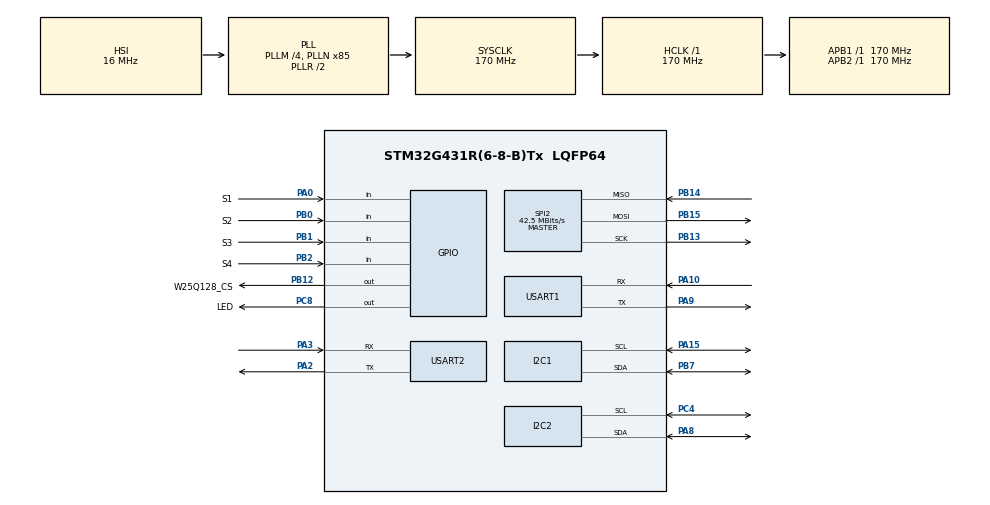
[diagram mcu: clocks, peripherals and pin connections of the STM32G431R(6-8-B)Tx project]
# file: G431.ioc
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Dma.Request0=USART2_RX
Dma.Request1=USART2_TX
Dma.Request2=USART1_RX
Dma.Request3=USART1_TX
Dma.USART1_RX.2.Direction=DMA_PERIPH_TO_MEMORY
Dma.USART1_RX.2.EventEnable=DISABLE
Dma.USART1_RX.2.Instance=DMA1_Channel3
Dma.USART1_RX.2.MemDataAlignment=DMA_MDATAALIGN_BYTE
Dma.USART1_RX.2.MemInc=DMA_MINC_ENABLE
Dma.USART1_RX.2.Mode=DMA_CIRCULAR
Dma.USART1_RX.2.PeriphDataAlignment=DMA_PDATAALIGN_BYTE
Dma.USART1_RX.2.PeriphInc=DMA_PINC_DISABLE
Dma.USART1_RX.2.Polarity=HAL_DMAMUX_REQ_GEN_RISING
Dma.USART1_RX.2.Priority=DMA_PRIORITY_LOW
Dma.USART1_RX.2.RequestNumber=1
Dma.USART1_RX.2.SignalID=NONE
Dma.USART1_RX.2.SyncEnable=DISABLE
Dma.USART1_RX.2.SyncPolarity=HAL_DMAMUX_SYNC_NO_EVENT
Dma.USART1_RX.2.SyncRequestNumber=1
Dma.USART1_RX.2.SyncSignalID=NONE
Dma.USART1_TX.3.Direction=DMA_MEMORY_TO_PERIPH
Dma.USART1_TX.3.EventEnable=DISABLE
Dma.USART1_TX.3.Instance=DMA1_Channel4
Dma.USART1_TX.3.MemDataAlignment=DMA_MDATAALIGN_BYTE
Dma.USART1_TX.3.MemInc=DMA_MINC_ENABLE
Dma.USART1_TX.3.Mode=DMA_NORMAL
Dma.USART1_TX.3.PeriphDataAlignment=DMA_PDATAALIGN_BYTE
Dma.USART1_TX.3.PeriphInc=DMA_PINC_DISABLE
Dma.USART1_TX.3.Polarity=HAL_DMAMUX_REQ_GEN_RISING
Dma.USART1_TX.3.Priority=DMA_PRIORITY_LOW
Dma.USART1_TX.3.RequestNumber=1
Dma.USART1_TX.3.SignalID=NONE
Dma.USART1_TX.3.SyncEnable=DISABLE
Dma.USART1_TX.3.SyncPolarity=HAL_DMAMUX_SYNC_NO_EVENT
Dma.USART1_TX.3.SyncRequestNumber=1
Dma.USART1_TX.3.SyncSignalID=NONE
Dma.USART2_RX.0.Direction=DMA_PERIPH_TO_MEMORY
Dma.USART2_RX.0.EventEnable=DISABLE
Dma.USART2_RX.0.Instance=DMA1_Channel1
Dma.USART2_RX.0.MemDataAlignment=DMA_MDATAALIGN_BYTE
Dma.USART2_RX.0.MemInc=DMA_MINC_ENABLE
Dma.USART2_RX.0.Mode=DMA_NORMAL
Dma.USART2_RX.0.PeriphDataAlignment=DMA_PDATAALIGN_BYTE
Dma.USART2_RX.0.PeriphInc=DMA_PINC_DISABLE
Dma.USART2_RX.0.Polarity=HAL_DMAMUX_REQ_GEN_RISING
Dma.USART2_RX.0.Priority=DMA_PRIORITY_LOW
Dma.USART2_RX.0.RequestNumber=1
Dma.USART2_RX.0.SignalID=NONE
Dma.USART2_RX.0.SyncEnable=DISABLE
Dma.USART2_RX.0.SyncPolarity=HAL_DMAMUX_SYNC_NO_EVENT
Dma.USART2_RX.0.SyncRequestNumber=1
Dma.USART2_RX.0.SyncSignalID=NONE
Dma.USART2_TX.1.Direction=DMA_MEMORY_TO_PERIPH
Dma.USART2_TX.1.EventEnable=DISABLE
Dma.USART2_TX.1.Instance=DMA1_Channel2
Dma.USART2_TX.1.MemDataAlignment=DMA_MDATAALIGN_BYTE
Dma.USART2_TX.1.MemInc=DMA_MINC_ENABLE
Dma.USART2_TX.1.Mode=DMA_NORMAL
Dma.USART2_TX.1.PeriphDataAlignment=DMA_PDATAALIGN_BYTE
Dma.USART2_TX.1.PeriphInc=DMA_PINC_DISABLE
Dma.USART2_TX.1.Polarity=HAL_DMAMUX_REQ_GEN_RISING
Dma.USART2_TX.1.Priority=DMA_PRIORITY_LOW
Dma.USART2_TX.1.RequestNumber=1
Dma.USART2_TX.1.SignalID=NONE
Dma.USART2_TX.1.SyncEnable=DISABLE
Dma.USART2_TX.1.SyncPolarity=HAL_DMAMUX_SYNC_NO_EVENT
Dma.USART2_TX.1.SyncRequestNumber=1
Dma.USART2_TX.1.SyncSignalID=NONE
I2C1.Timing=0x40B285C2
I2C2.Timing=0x40B285C2
Mcu.Family=STM32G4
Mcu.Name=STM32G431R(6-8-B)Tx
Mcu.Package=LQFP64
NVIC.DMA1_Channel1_IRQn=true\:0\:0\:false\:false\:true\:false\:true\:true
NVIC.DMA1_Channel2_IRQn=true\:0\:0\:false\:false\:true\:false\:true\:true
NVIC.DMA1_Channel3_IRQn=true\:0\:0\:false\:false\:true\:false\:true\:true
NVIC.DMA1_Channel4_IRQn=true\:0\:0\:false\:false\:true\:false\:true\:true
NVIC.PriorityGroup=NVIC_PRIORITYGROUP_4
NVIC.TIM2_IRQn=true\:0\:0\:false\:false\:true\:true\:true\:true
NVIC.USART1_IRQn=true\:1\:0\:true\:false\:true\:false\:true\:true
NVIC.USART2_IRQn=true\:0\:0\:true\:false\:true\:false\:true\:true
PA0.GPIO_Label=S1
PA0.GPIO_Mode=GPIO_MODE_INPUT
PA0.GPIO_PuPd=GPIO_PULLUP
PA0.Signal=GPIO_Input
PA10.Mode=Asynchronous
PA10.Signal=USART1_RX
PA13.Mode=Serial_Wire
PA13.Signal=SYS_JTMS-SWDIO
PA14.Mode=Serial_Wire
PA14.Signal=SYS_JTCK-SWCLK
PA15.Mode=I2C
PA15.Signal=I2C1_SCL
PA2.Mode=Asynchronous
PA2.Signal=USART2_TX
PA3.Mode=Asynchronous
PA3.Signal=USART2_RX
PA8.Mode=I2C
PA8.Signal=I2C2_SDA
PA9.Mode=Asynchronous
PA9.Signal=USART1_TX
PB0.GPIO_Label=S2
PB0.GPIO_PuPd=GPIO_PULLUP
PB0.Signal=GPIO_Input
PB1.GPIO_Label=S3
PB1.GPIO_PuPd=GPIO_PULLUP
PB1.Signal=GPIO_Input
PB12.GPIO_Label=W25Q128_CS
PB12.GPIO_Speed=GPIO_SPEED_FREQ_HIGH
PB12.PinState=GPIO_PIN_SET
PB12.Signal=GPIO_Output
PB13.GPIO_Speed=GPIO_SPEED_FREQ_HIGH
PB13.Mode=Full_Duplex_Master
PB13.Signal=SPI2_SCK
PB14.GPIO_Speed=GPIO_SPEED_FREQ_HIGH
PB14.Mode=Full_Duplex_Master
PB14.Signal=SPI2_MISO
PB15.GPIO_Speed=GPIO_SPEED_FREQ_HIGH
PB15.Mode=Full_Duplex_Master
PB15.Signal=SPI2_MOSI
PB2.GPIO_Label=S4
PB2.GPIO_PuPd=GPIO_PULLUP
PB2.Signal=GPIO_Input
PB7.Mode=I2C
PB7.Signal=I2C1_SDA
PC4.Mode=I2C
PC4.Signal=I2C2_SCL
PC8.GPIO_Label=LED
PC8.PinState=GPIO_PIN_SET
PC8.Signal=GPIO_Output
PF0-OSC_IN.Mode=HSE-External-Oscillator
PF0-OSC_IN.Signal=RCC_OSC_IN
PF1-OSC_OUT.Mode=HSE-External-Oscillator
PF1-OSC_OUT.Signal=RCC_OSC_OUT
ProjectManager.HeapSize=0x200
ProjectManager.StackSize=0x400
ProjectManager.TargetToolchain=MDK-ARM V5.32
RCC.ADC12Freq_Value=170000000
RCC.AHBFreq_Value=170000000
RCC.APB1Freq_Value=170000000
RCC.APB1TimFreq_Value=170000000
RCC.APB2Freq_Value=170000000
RCC.APB2TimFreq_Value=170000000
RCC.CortexFreq_Value=170000000
RCC.EXTERNAL_CLOCK_VALUE=12288000
RCC.HCLKFreq_Value=170000000
RCC.HSE_VALUE=24000000
RCC.HSI48_VALUE=48000000
RCC.HSI_VALUE=16000000
RCC.LSE_VALUE=32768
RCC.PLLM=RCC_PLLM_DIV4
RCC.PLLN=85
RCC.SYSCLKFreq_VALUE=170000000
RCC.SYSCLKSource=RCC_SYSCLKSOURCE_PLLCLK
RCC.USBFreq_Value=170000000
RCC.VCOOutputFreq_Value=340000000
SPI2.BaudRatePrescaler=SPI_BAUDRATEPRESCALER_4
SPI2.CalculateBaudRate=42.5 MBits/s
SPI2.DataSize=SPI_DATASIZE_8BIT
SPI2.Direction=SPI_DIRECTION_2LINES
SPI2.Mode=SPI_MODE_MASTER
SPI2.VirtualType=VM_MASTER
TIM2.PeriodNoDither=100-1
TIM2.Prescaler=1700-1
USART1.VirtualMode-Asynchronous=VM_ASYNC
USART2.VirtualMode-Asynchronous=VM_ASYNC
VP_SYS_VS_DBSignals.Mode=DisableDeadBatterySignals
VP_TIM2_VS_ClockSourceINT.Mode=Internal
board=custom

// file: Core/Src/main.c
/* USER CODE BEGIN Header */
/**
  ******************************************************************************
  * @file           : main.c
  * @brief          : Main program body
  ******************************************************************************
  * @attention
  *
  * Copyright (c) 2026 STMicroelectronics.
  * All rights reserved.
  *
  * This software is licensed under terms that can be found in the LICENSE file
  * in the root directory of this software component.
  * If no LICENSE file comes with this software, it is provided AS-IS.
  *
  ******************************************************************************
  */
/* USER CODE END Header */
#include "main.h"
#include "dma.h"
#include "i2c.h"
#include "spi.h"
#include "tim.h"
#include "usart.h"
#include "gpio.h"

/* USER CODE BEGIN Includes */
#include "tim.h"

#include "./W25Q128/bsp_spi_flash.h"
#include "./OLED/oled.h"
#include "./utf8_font/utf8_font.h"
#include "uart_DMA.h"
#include "func.h"
/* USER CODE END Includes */

void SystemClock_Config(void);

int main(void)
{

  /* USER CODE BEGIN 1 */
  uint32_t FlashID;
  /* USER CODE END 1 */

  /* MCU Configuration--------------------------------------------------------*/

  /* Reset of all peripherals, Initializes the Flash interface and the Systick. */
  HAL_Init();

  /* Configure the system clock */
  SystemClock_Config();

  /* Initialize all configured peripherals */
  MX_GPIO_Init();
  MX_DMA_Init();
  MX_I2C1_Init();
  MX_I2C2_Init();
  MX_SPI2_Init();
  MX_USART1_UART_Init();
  MX_USART2_UART_Init();
  MX_TIM2_Init();
  /* USER CODE BEGIN 2 */
  HAL_TIM_Base_Start_IT(&htim2);
  OLED_Init();
  OLED_Clear();
  gps_uart_init();
  SPI_FLASH_Init();
  SPI_FLASH_ClearProtect();
  FlashID=SPI_FLASH_ReadID();
  printf("FlashID: 0x%06lX\r\n", FlashID);
  UTF8_FONT_Diag();                       /* 打印字库头信息，排查 ? 问题 */
  OLED_Show_UTF8(0, 0, "\xE6\x99\xBA\xE8\x83\xBD\xE5\xA4\xB4\xE7\x9B\x94", 16);   /* "智能头盔" UTF-8 */
  sersor_init();
  test_gps_update();                      /* GPS 测试模式：立即设置初始坐标 */
  send_init_status();                     /* 通知 EC800 传感器就绪状态 */
  /* USER CODE END 2 */

  /* Infinite loop */
  /* USER CODE BEGIN WHILE */
  while (1)
  {
     def_main();

     /* OLED 固定双行布局：上行导航/状态，下行时间 */
     if (g_nav_text_updated || g_time_updated) {
         uint8_t is_nav = g_nav_text_updated;
         g_nav_text_updated = 0;
         g_time_updated = 0;

         /* 新导航文字到达时立即截第一屏，不等 500ms 定时器 */
         if (is_nav && g_nav_full[0]) {
             nav_scroll_update();
         }

         OLED_Clear();

         /* 上行：导航文字 */
         if (g_nav_text[0]) {
             OLED_Show_UTF8(0, 0, g_nav_text, 16);
         }

         /* 下行：心率 + 时间 + 心情（固定位置 y=16） */
         if (g_time_text[0]) {
             char row[24];
             if (g_sensor_hr > 0) {
                 if (g_mood_text[0])
                     sprintf(row, "H%ld %s %s", (long)g_sensor_hr, g_time_text, g_mood_text);
                 else
                     sprintf(row, "H%ld %s", (long)g_sensor_hr, g_time_text);
             } else {
                 if (g_mood_text[0])
                     sprintf(row, "%s %s", g_time_text, g_mood_text);
                 else
                     sprintf(row, "%s", g_time_text);
             }
             OLED_Show_Str(0, 16, row, 16);
         }
     }
    /* USER CODE END WHILE */

  }
}

void SystemClock_Config(void)
{
  RCC_OscInitTypeDef RCC_OscInitStruct = {0};
  RCC_ClkInitTypeDef RCC_ClkInitStruct = {0};

  /** Configure the main internal regulator output voltage
  */
  HAL_PWREx_ControlVoltageScaling(PWR_REGULATOR_VOLTAGE_SCALE1_BOOST);

  /** Initializes the RCC Oscillators according to the specified parameters
  * in the RCC_OscInitTypeDef structure.
  */
  RCC_OscInitStruct.OscillatorType = RCC_OSCILLATORTYPE_HSI;
  RCC_OscInitStruct.HSIState = RCC_HSI_ON;
  RCC_OscInitStruct.HSICalibrationValue = RCC_HSICALIBRATION_DEFAULT;
  RCC_OscInitStruct.PLL.PLLState = RCC_PLL_ON;
  RCC_OscInitStruct.PLL.PLLSource = RCC_PLLSOURCE_HSI;
  RCC_OscInitStruct.PLL.PLLM = RCC_PLLM_DIV4;
  RCC_OscInitStruct.PLL.PLLN = 85;
  RCC_OscInitStruct.PLL.PLLP = RCC_PLLP_DIV2;
  RCC_OscInitStruct.PLL.PLLQ = RCC_PLLQ_DIV2;
  RCC_OscInitStruct.PLL.PLLR = RCC_PLLR_DIV2;
  if (HAL_RCC_OscConfig(&RCC_OscInitStruct) != HAL_OK)
  {
    Error_Handler();
  }

  /** Initializes the CPU, AHB and APB buses clocks
  */
  RCC_ClkInitStruct.ClockType = RCC_CLOCKTYPE_HCLK|RCC_CLOCKTYPE_SYSCLK
                              |RCC_CLOCKTYPE_PCLK1|RCC_CLOCKTYPE_PCLK2;
  RCC_ClkInitStruct.SYSCLKSource = RCC_SYSCLKSOURCE_PLLCLK;
  RCC_ClkInitStruct.AHBCLKDivider = RCC_SYSCLK_DIV1;
  RCC_ClkInitStruct.APB1CLKDivider = RCC_HCLK_DIV1;
  RCC_ClkInitStruct.APB2CLKDivider = RCC_HCLK_DIV1;

  if (HAL_RCC_ClockConfig(&RCC_ClkInitStruct, FLASH_LATENCY_4) != HAL_OK)
  {
    Error_Handler();
  }
}

void Error_Handler(void)
{
  __disable_irq();
  while (1)
  {
  }
}
